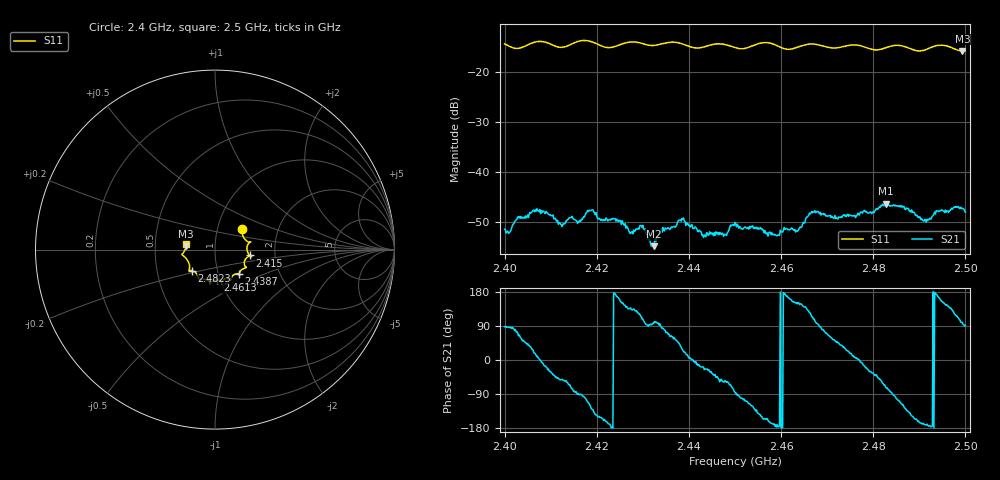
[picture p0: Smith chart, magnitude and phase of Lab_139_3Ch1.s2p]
# Hz S RI R 50
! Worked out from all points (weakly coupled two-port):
!   601 points, 2.4 GHz to 2.5 GHz, reference 50 ohm
!   highest |S21| = -46.42 dB at 2.4828 GHz (marker M1); lowest = -54.9 dB at 2.4323 GHz (marker M2)
!   lowest |S11| = -15.8 dB at 2.4993 GHz (marker M3), VSWR 1.39, Z = 36 + j1.29 ohm
!   |S11| at or under -10 dB: start of sweep to end of sweep
!   S12 and S22 are empty: the file has one direction only
!   S11 on the Smith chart (normalised r, x): 2.4 GHz: 1.32, +0.32; 2.415 GHz: 1.47, -0.10; 2.4387 GHz: 1.25, -0.36; 2.4613 GHz: 0.97, -0.34; 2.4823 GHz: 0.75, -0.18; 2.5 GHz: 0.72, +0.04
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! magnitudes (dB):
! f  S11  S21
! 2.4 GHz  -14.3  -51.5
! 2.4067 GHz  -13.9  -47.6
! 2.4122 GHz  -15.0  -50.5
! 2.415 GHz  -14.2  -49.5
! 2.4167 GHz  -13.7  -49.5
! 2.4188 GHz  -13.9  -47.7
! 2.4273 GHz  -13.9  -52.4
! 2.4298 GHz  -14.2  -51.2
! 2.4323 GHz  -14.6  -54.9
! 2.4333 GHz  -14.5  -53.2
! 2.4387 GHz  -14.4  -49.5
! 2.4433 GHz  -14.9  -52.7
! 2.45 GHz  -15.1  -50.2
! 2.4613 GHz  -15.4  -51.4
! 2.4667 GHz  -14.3  -47.9
! 2.4723 GHz  -15.1  -49.5
! 2.4823 GHz  -15.2  -46.6
! 2.4828 GHz  -15.1  -46.4
! 2.4833 GHz  -14.9  -46.6
! 2.4913 GHz  -15.5  -49.6
! 2.4993 GHz  -15.8  -47.3
! 2.5 GHz  -15.7  -48.1
